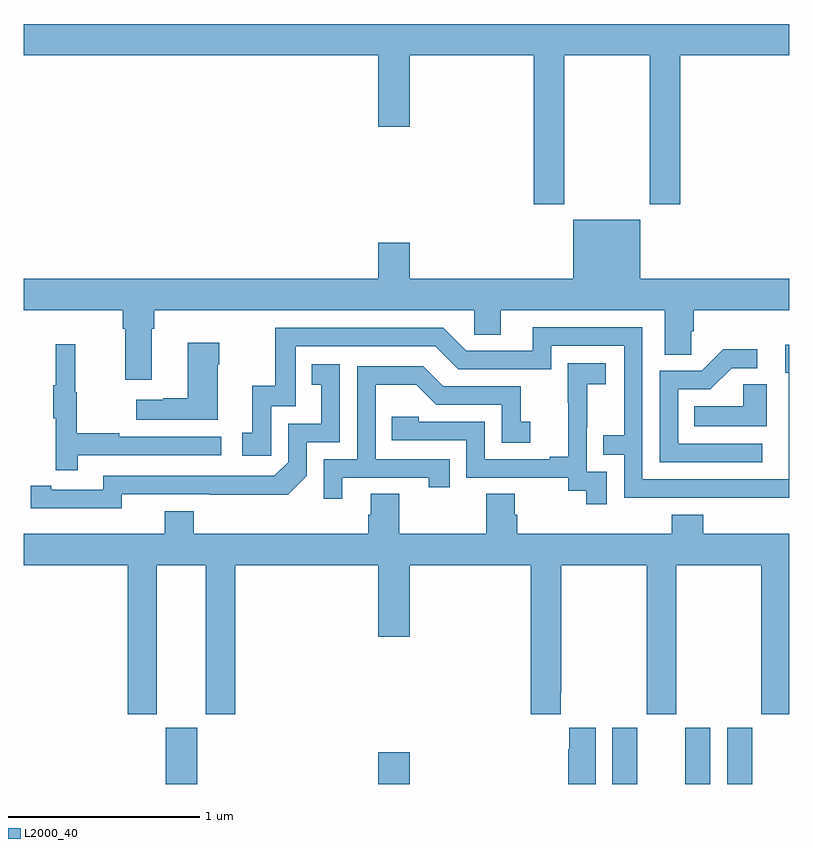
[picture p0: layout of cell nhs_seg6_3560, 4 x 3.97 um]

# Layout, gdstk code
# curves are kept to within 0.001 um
import gdstk
lib = gdstk.Library(unit=1e-6, precision=1e-09)
def R(c, l, rs):  # rectangles x0, y0, x1, y1
    for r in rs: c.add(gdstk.rectangle(r[:2], r[2:], *l))
def P(c, l, *ps):  # polygons
    for p in ps: c.add(gdstk.Polygon(p, *l))
L2000_40 = (2000, 40)

nhs_seg6_3560 = lib.new_cell('nhs_seg6_3560')
R(nhs_seg6_3560, L2000_40, [(319.742,971.5,319.906,971.793), (320.852,971.5,321.016,971.665), (322.076,971.5,322.207,971.794), (322.457,971.5,322.588,971.794), (322.676,971.5,322.807,971.794)])
P(nhs_seg6_3560, L2000_40, [(321.825,975.308),(322.27,975.308),(322.27,974.529),(322.43,974.529),(322.43,975.308),(323,975.308),(323,975.472),(319,975.472),(319,975.308),(320.852,975.308),(320.852,974.934),(321.016,974.934),(321.016,975.308),(321.665,975.308),(321.665,974.529),(321.825,974.529)],
  [(319.669,973.88),(319.682,973.88),(319.682,973.976),(321.354,973.976),(321.354,973.849),(321.493,973.849),(321.493,973.976),(322.349,973.976),(322.349,973.744),(322.488,973.744),(322.488,973.867),(322.502,973.867),(322.502,973.976),(323,973.976),(323,974.14),(322.222,974.14),(322.222,974.449),(321.872,974.449),(321.872,974.14),(321.016,974.14),(321.016,974.329),(320.852,974.329),(320.852,974.14),(319,974.14),(319,973.976),(319.517,973.976),(319.517,973.88),(319.529,973.88),(319.529,973.614),(319.669,973.614)],
  [(323,973.795),(322.979,973.795),(322.979,973.65),(322.998,973.65),(322.998,973.092),(322.233,973.092),(322.233,973.887),(321.659,973.887),(321.659,973.764),(321.312,973.764),(321.192,973.884),(320.313,973.884),(320.313,973.582),(320.195,973.582),(320.195,973.335),(320.142,973.335),(320.142,973.215),(320.292,973.215),(320.292,973.473),(320.421,973.473),(320.421,973.788),(321.15,973.788),(321.27,973.668),(321.756,973.668),(321.756,973.791),(322.137,973.791),(322.137,973.322),(322.027,973.322),(322.027,973.221),(322.137,973.221),(322.137,972.996),(323,972.995)],
  [(320.014,973.694),(320.022,973.694),(320.022,973.807),(319.856,973.807),(319.856,973.517),(319.73,973.517),(319.73,973.507),(319.587,973.507),(319.587,973.403),(320.014,973.403)],
  [(319.283,973.218),(320.032,973.218),(320.032,973.314),(319.499,973.314),(319.499,973.334),(319.276,973.334),(319.276,973.548),(319.268,973.548),(319.268,973.798),(319.166,973.798),(319.166,973.585),(319.155,973.585),(319.155,973.411),(319.166,973.411),(319.166,973.14),(319.283,973.14)],
  [(322.858,973.278),(322.419,973.278),(322.419,973.563),(322.588,973.563),(322.699,973.674),(322.834,973.674),(322.834,973.772),(322.655,973.772),(322.542,973.659),(322.323,973.659),(322.323,973.182),(322.858,973.182)],
  [(322.047,973.131),(321.942,973.131),(321.942,973.361),(321.944,973.361),(321.944,973.589),(322.042,973.589),(322.042,973.699),(321.844,973.699),(321.844,973.493),(321.845,973.493),(321.845,973.21),(321.749,973.21),(321.749,973.197),(321.408,973.197),(321.408,973.392),(321.063,973.392),(321.063,973.419),(320.923,973.419),(320.923,973.296),(321.312,973.296),(321.312,973.101),(321.846,973.101),(321.846,973.033),(321.939,973.033),(321.939,972.963),(322.047,972.963)],
  [(319.512,973.014),(320.38,973.013),(320.478,973.11),(320.478,973.287),(320.652,973.287),(320.652,973.693),(320.506,973.693),(320.506,973.587),(320.555,973.587),(320.555,973.383),(320.382,973.383),(320.382,973.182),(320.31,973.11),(319.416,973.11),(319.416,973.038),(319.144,973.038),(319.144,973.058),(319.036,973.058),(319.036,972.942),(319.512,972.941)],
  [(320.665,973.101),(321.116,973.101),(321.116,973.05),(321.227,973.05),(321.227,973.197),(320.838,973.197),(320.838,973.586),(321.052,973.586),(321.156,973.482),(321.498,973.482),(321.498,973.284),(321.646,973.284),(321.646,973.393),(321.597,973.393),(321.597,973.578),(321.193,973.578),(321.088,973.683),(320.742,973.683),(320.742,973.197),(320.568,973.197),(320.568,972.99),(320.665,972.99)],
  [(322.882,973.589),(322.761,973.589),(322.761,973.474),(322.504,973.474),(322.504,973.37),(322.882,973.37)],
  [(319.696,972.644),(319.952,972.644),(319.952,971.865),(320.105,971.865),(320.105,972.644),(320.852,972.644),(320.852,972.27),(321.016,972.27),(321.016,972.644),(321.65,972.644),(321.65,971.865),(321.805,971.865),(321.805,971.977),(321.81,971.977),(321.81,972.644),(322.255,972.644),(322.255,971.865),(322.41,971.865),(322.41,972.644),(322.855,972.644),(322.855,971.865),(323,971.865),(323,972.808),(322.55,972.808),(322.55,972.907),(322.385,972.907),(322.385,972.808),(321.578,972.808),(321.578,972.906),(321.565,972.906),(321.565,973.016),(321.418,973.016),(321.418,972.808),(320.961,972.808),(320.961,973.016),(320.813,973.016),(320.813,972.906),(320.801,972.906),(320.801,972.808),(319.889,972.808),(319.889,972.925),(319.736,972.925),(319.736,972.808),(319,972.808),(319,972.644),(319.544,972.644),(319.544,971.865),(319.696,971.865)],
  [(321.988,971.794),(321.851,971.794),(321.851,971.681),(321.845,971.681),(321.845,971.5),(321.988,971.5)])

lib.write_gds('nhs_seg6_3560.gds')
